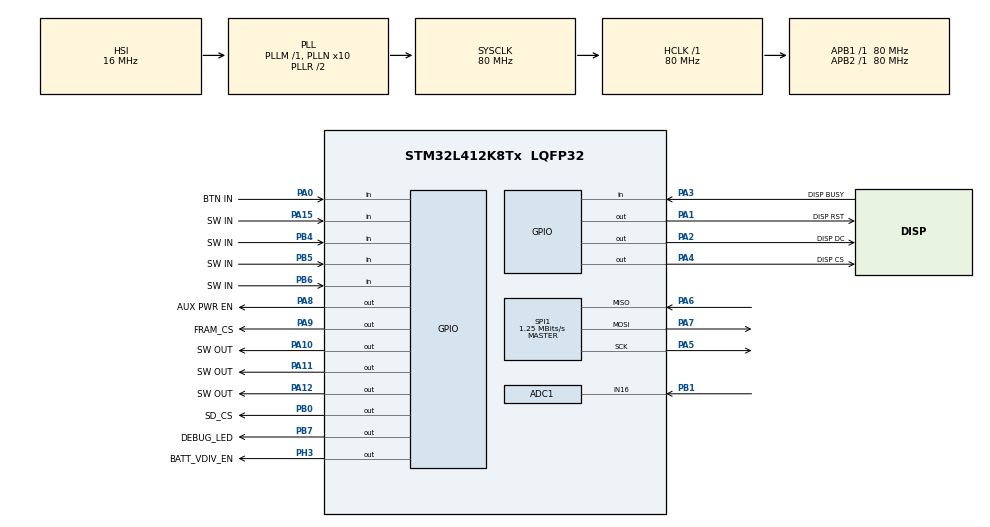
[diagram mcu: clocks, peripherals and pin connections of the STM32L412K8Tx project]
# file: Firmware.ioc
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ADC1.Channel-3\#ChannelRegularConversion=ADC_CHANNEL_16
ADC1.NbrOfConversionFlag=1
ADC1.OffsetNumber-3\#ChannelRegularConversion=ADC_OFFSET_NONE
ADC1.Rank-3\#ChannelRegularConversion=1
ADC1.SamplingTime-3\#ChannelRegularConversion=ADC_SAMPLETIME_2CYCLES_5
ADC1.master=1
FATFS._FS_RPATH=1
FATFS._MAX_SS=512
FATFS._USE_LFN=3
Mcu.Family=STM32L4
Mcu.Name=STM32L412K8Tx
Mcu.Package=LQFP32
NVIC.PriorityGroup=NVIC_PRIORITYGROUP_4
PA0-CK_IN.GPIO_Label=BTN IN
PA0-CK_IN.GPIO_PuPd=GPIO_NOPULL
PA0-CK_IN.Signal=GPIO_Input
PA1.GPIO_Label=DISP RST
PA1.Signal=GPIO_Output
PA10.GPIO_Label=SW OUT
PA10.GPIO_ModeDefaultOutputPP=GPIO_MODE_OUTPUT_OD
PA10.GPIO_PuPd=GPIO_NOPULL
PA10.Signal=GPIO_Output
PA11.GPIO_Label=SW OUT
PA11.GPIO_ModeDefaultOutputPP=GPIO_MODE_OUTPUT_OD
PA11.GPIO_PuPd=GPIO_NOPULL
PA11.Signal=GPIO_Output
PA12.GPIO_Label=SW OUT
PA12.GPIO_ModeDefaultOutputPP=GPIO_MODE_OUTPUT_OD
PA12.GPIO_PuPd=GPIO_NOPULL
PA12.Signal=GPIO_Output
PA13\ (JTMS/SWDIO).Mode=Trace_Asynchronous_SW
PA13\ (JTMS/SWDIO).Signal=SYS_JTMS-SWDIO
PA14\ (JTCK/SWCLK).Mode=Trace_Asynchronous_SW
PA14\ (JTCK/SWCLK).Signal=SYS_JTCK-SWCLK
PA15\ (JTDI).GPIO_Label=SW IN
PA15\ (JTDI).GPIO_PuPd=GPIO_PULLUP
PA15\ (JTDI).Signal=GPIO_Input
PA2.GPIO_Label=DISP DC
PA2.GPIO_Speed=GPIO_SPEED_FREQ_LOW
PA2.PinState=GPIO_PIN_RESET
PA2.Signal=GPIO_Output
PA3.GPIO_Label=DISP BUSY
PA3.Signal=GPIO_Input
PA4.GPIO_Label=DISP CS
PA4.GPIO_Speed=GPIO_SPEED_FREQ_VERY_HIGH
PA4.PinState=GPIO_PIN_SET
PA4.Signal=GPIO_Output
PA5.Mode=Full_Duplex_Master
PA5.Signal=SPI1_SCK
PA6.Mode=Full_Duplex_Master
PA6.Signal=SPI1_MISO
PA7.Mode=Full_Duplex_Master
PA7.Signal=SPI1_MOSI
PA8.GPIO_Label=AUX PWR EN
PA8.GPIO_Speed=GPIO_SPEED_FREQ_LOW
PA8.PinState=GPIO_PIN_SET
PA8.Signal=GPIO_Output
PA9.GPIO_Label=FRAM_CS
PA9.GPIO_Speed=GPIO_SPEED_FREQ_VERY_HIGH
PA9.PinState=GPIO_PIN_SET
PA9.Signal=GPIO_Output
PB0.GPIO_Label=SD_CS
PB0.GPIO_Speed=GPIO_SPEED_FREQ_VERY_HIGH
PB0.PinState=GPIO_PIN_SET
PB0.Signal=GPIO_Output
PB1.Signal=ADCx_IN16
PB3\ (JTDO/TRACESWO).Mode=Trace_Asynchronous_SW
PB3\ (JTDO/TRACESWO).Signal=SYS_JTDO-SWO
PB4\ (NJTRST).GPIO_Label=SW IN
PB4\ (NJTRST).GPIO_PuPd=GPIO_PULLUP
PB4\ (NJTRST).Signal=GPIO_Input
PB5.GPIO_Label=SW IN
PB5.GPIO_PuPd=GPIO_PULLUP
PB5.Signal=GPIO_Input
PB6.GPIO_Label=SW IN
PB6.GPIO_PuPd=GPIO_PULLUP
PB6.Signal=GPIO_Input
PB7.GPIO_Label=DEBUG_LED
PB7.Signal=GPIO_Output
PH3-BOOT0\ (BOOT0).GPIO_Label=BATT_VDIV_EN
PH3-BOOT0\ (BOOT0).Signal=GPIO_Output
ProjectManager.HeapSize=0x200
ProjectManager.StackSize=0x400
ProjectManager.TargetToolchain=STM32CubeIDE
RCC.ADCFreq_Value=80000000
RCC.AHBFreq_Value=80000000
RCC.APB1Freq_Value=80000000
RCC.APB1TimFreq_Value=80000000
RCC.APB2Freq_Value=80000000
RCC.APB2TimFreq_Value=80000000
RCC.CortexFreq_Value=80000000
RCC.HCLKFreq_Value=80000000
RCC.HSE_VALUE=8000000
RCC.HSI48_VALUE=48000000
RCC.HSI_VALUE=16000000
RCC.LSE_VALUE=32768
RCC.MSI_VALUE=4000000
RCC.PLLN=10
RCC.PLLSourceVirtual=RCC_PLLSOURCE_HSI
RCC.SYSCLKFreq_VALUE=80000000
RCC.SYSCLKSource=RCC_SYSCLKSOURCE_PLLCLK
RCC.USBFreq_Value=4000000
RCC.VCOOutputFreq_Value=160000000
SH.ADCx_IN16.0=ADC1_IN16,IN16-Single-Ended
SPI1.BaudRatePrescaler=SPI_BAUDRATEPRESCALER_64
SPI1.CalculateBaudRate=1.25 MBits/s
SPI1.DataSize=SPI_DATASIZE_8BIT
SPI1.Direction=SPI_DIRECTION_2LINES
SPI1.Mode=SPI_MODE_MASTER
SPI1.VirtualType=VM_MASTER
VP_FATFS_VS_Generic.Mode=User_defined
VP_RNG_VS_RNG.Mode=RNG_Activate
VP_RTC_VS_RTC_Activate.Mode=RTC_Enabled
board=custom

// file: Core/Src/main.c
/* USER CODE BEGIN Header */
/**
 ******************************************************************************
 * @file           : main.c
 * @brief          : Main program body
 ******************************************************************************
 * @attention
 *
 * Copyright (c) 2024 STMicroelectronics.
 * All rights reserved.
 *
 * This software is licensed under terms that can be found in the LICENSE file
 * in the root directory of this software component.
 * If no LICENSE file comes with this software, it is provided AS-IS.
 *
 ******************************************************************************
 */
/* USER CODE END Header */
#include "main.h"

#include "fatfs.h"

/* USER CODE BEGIN Includes */
#include <stdarg.h>  //for va_list var arg functions
#include <stdbool.h>
#include <stdio.h>
#include <string.h>

#include "aeon.h"
#include "disp.h"
#include "fram.h"
#include "sd.h"
#include "slic.h"

/* USER CODE END Includes */

ADC_HandleTypeDef hadc1;

RNG_HandleTypeDef hrng;

RTC_HandleTypeDef hrtc;

SPI_HandleTypeDef hspi1;

/* USER CODE BEGIN PV */

enum wake_reason_t wake_reason;

bool runtime_debug_mode = true;

uint32_t wake_cycle_count;
double batt_voltage;

#define DEBUG_OUTPUT_ARR_SIZE 20000
char debug_output_arr[DEBUG_OUTPUT_ARR_SIZE];
int debug_output_arr_index = 0;

FATFS FatFs;

FIL img_file_ptr;

#define PIXEL_BUF_SIZE 5000
uint8_t pixel_buf[PIXEL_BUF_SIZE];

/* USER CODE END PV */

void SystemClock_Config(void);
static void MX_GPIO_Init(void);
static void MX_ADC1_Init(void);
static void MX_SPI1_Init(void);
static void MX_RTC_Init(void);
static void MX_RNG_Init(void);

/* USER CODE BEGIN 0 */

int __io_putchar(int ch) {
    if ((runtime_debug_mode || DEBUG_MODE_FORCE_EN) &&
        debug_output_arr_index < DEBUG_OUTPUT_ARR_SIZE) {
        debug_output_arr[debug_output_arr_index++] = ch;
    }

    // Write character to ITM ch.0
    ITM_SendChar(ch);
    return (ch);
}

int img_slic_open_callback(const char* filename, SLICFILE* pFile) {
    FRESULT fres;

    fres = f_open(&img_file_ptr, filename, FA_READ);
    if (fres != FR_OK) {
        printf("f_open error (%i)\r\n", fres);
        return -1;
    }

    pFile->fHandle = &img_file_ptr;

    return 0;
}

int img_slic_read_callback(SLICFILE* pFile, uint8_t* pBuf, int32_t iLen) {
    UINT bytesRead;
    FRESULT fres;

    fres = f_read(pFile->fHandle, pBuf, iLen, &bytesRead);
    if (fres != FR_OK) {
        printf("f_read error (%i)\r\n", fres);
        return -1;
    }

    return bytesRead;
}

/* USER CODE END 0 */

int main(void) {
    /* USER CODE BEGIN 1 */

    setvbuf(stdout, NULL, _IONBF, 0);  // disable line buffering for printf

    bool wakeup_by_refresh_btn = __HAL_PWR_GET_FLAG(
        PWR_FLAG_WUF1);  // check if wake up was caused by refresh button
    bool wakeup_by_rtc =
        __HAL_RTC_WAKEUPTIMER_EXTI_GET_FLAG();  // check if wake up was caused
                                                // by RTC

    /* USER CODE END 1 */

    /* MCU
     * Configuration--------------------------------------------------------*/

    /* Reset of all peripherals, Initializes the Flash interface and the
     * Systick. */
    HAL_Init();

    /* Configure the system clock */
    SystemClock_Config();

    /* Initialize all configured peripherals */
    MX_GPIO_Init();
    MX_ADC1_Init();
    MX_SPI1_Init();
    MX_FATFS_Init();
    MX_RTC_Init();
    MX_RNG_Init();
    /* USER CODE BEGIN 2 */

    // ================= Initialisation ================= //

    __HAL_PWR_CLEAR_FLAG(
        PWR_FLAG_WU);  // clear wake up flag:
                       // https://wiki.st.com/stm32mcu/wiki/Getting_started_with_PWR#Standby_mode
    __HAL_RTC_WAKEUPTIMER_EXTI_CLEAR_FLAG();

    wake_reason = WAKE_REASON_RESET;

    if (wakeup_by_refresh_btn) {
        wake_reason = WAKE_REASON_STBY_REFRESH_BTN;
        if (DBG) printf("Wake from Standby (Refresh Btn)\n");
    } else if (wakeup_by_rtc) {
        wake_reason = WAKE_REASON_STBY_RTC;
        if (DBG) printf("Wake from Standby (RTC)\n");
    } else {
        if (DBG) printf("Wake from pwr off (Reset)\n");
    }

    SET_AUX_PWR(true);  // enable AUX power rail
    HAL_Delay(10);      // wait for AUX PWR to stabilise
    if (DBG) printf("Enabled AUX PWR\n");

    // check for previous unsafe shutdown, and set the flag to true
    bool previous_unsafe_shutdown = fram_sys_start_unsafe_shutdown_update();
    wake_cycle_count = fram_sys_wake_cycle_count_update();

    if (DBG) {
        printf("Starting iteration %lu\n", wake_cycle_count);
        printf("Previous shutdown was %s\n",
               previous_unsafe_shutdown ? "UNSAFE" : "safe");
    }

    bool sd_avail = sd_init(&FatFs);  // initialise SD card
    if (DBG && !sd_avail)
        printf("SD card not available, will be unable to refresh image\n");

    if (!batt_threshold_check(&batt_voltage)) {
        if (DBG)
            printf("Battery voltage is %.2fV, below threshold of %.2fV\n",
                   batt_voltage, BATT_THRESHOLD);

        if (DISABLE_BATT_THRESHOLD_CHECK) {
            if (DBG)
                printf("Battery threshold check disabled, continuing...\n");
        } else {
            fram_set_sleep_reason(SLEEP_REASON_LOW_BATT);
            enter_sleep(12 * 60 * 60);  // sleep for 12 hours
        }
    }
    if (DBG)
        printf("Battery voltage is %.2fV, above threshold of %.2fV\n",
               batt_voltage, BATT_THRESHOLD);

    // check if BTN_IN is held down to enter debug mode
    if (!check_debug_mode_en()) {
        if (!previous_unsafe_shutdown) {
            runtime_debug_mode = false;
        } else {
            printf("Debug mode enabled due to unsafe shutdown!\n");
        }
    }

    // ================= Step 1 ================= //
    // Check whether to do an image refresh or go back to sleep.

    uint32_t remaining_sleep_duration = fram_get_sleep_duration();
    if (DBG)
        printf("Remaining sleep duration: %lu\n", remaining_sleep_duration);

    uint16_t previous_interval_value =
        fram_get_interval_sw_value();  // get previous interval value

    uint16_t current_toggle_sw_value =
        get_toggle_sw_bits();  // get current toggle switch value

    // extract config values from toggle switch value
    bool refresh_enabled = current_toggle_sw_value & 0x800;  // 12th bit
    bool shuffle_enabled = current_toggle_sw_value & 0x400;  // 11th bit
    uint16_t current_interval_value =
        current_toggle_sw_value & 0x3FF;  // interval value is the lower 10 bits
                                          // of the toggle switch value

    fram_set_interval_sw_value(current_interval_value);
    if (DBG)
        printf(
            "Previous interval switch value: %u, Current interval switch "
            "value: %u\n",
            previous_interval_value, current_interval_value);

    // Conditions to return to sleep
    // 1. Sleep duration not elapsed
    // 2. and Wake up not caused by refresh button
    // 3. and Interval switch value not changed
    if (remaining_sleep_duration != 0 && !wakeup_by_refresh_btn &&
        previous_interval_value == current_interval_value) {
        if (DBG)
            printf(
                "Sleep duration not elapsed... Conditions not met for refresh, "
                "going back to sleep.\n");

        uint32_t next_sleep_duration = calculate_update_sleep_duration(
            remaining_sleep_duration, current_interval_value);

        fram_set_sleep_reason(SLEEP_REASON_NORM_ITER);
        enter_sleep(next_sleep_duration);
    }

    // 4. Refresh not enabled (and not woken by refresh button)
    if (!refresh_enabled && !wakeup_by_refresh_btn) {
        if (DBG) printf("Refresh not enabled... Going back to sleep.\n");

        fram_set_sleep_reason(SLEEP_REASON_REFRESH_DISABLED);
        enter_sleep(12 * 60 * 60);  // sleep for 12 hours
    }

    // ================= Step 2 ================= //
    // If conditions are correct, we need to refresh the image, so next, need to
    // select the image to display.

    if (!sd_avail) {
        if (DBG)
            printf(
                "SD card not available to refresh image... Going back to "
                "sleep.\n");

        fram_set_sleep_reason(SLEEP_REASON_NO_SD);
        enter_sleep(12 * 60 * 60);  // sleep for 12 hours
    }

    char filename[41] = {0};
    bool image_available =
        sd_get_next_image_filename(filename, shuffle_enabled);

    if (!image_available) {
        if (DBG)
            printf("No image available to display... Going back to sleep.\n");

        fram_set_sleep_reason(SLEEP_REASON_NO_IMAGE);
        enter_sleep(12 * 60 * 60);  // sleep for 12 hours
    }

    f_chdir("/images");  // change to images directory

    if (DBG) printf("Opening image file: %s\n", filename);
    SLICSTATE slic_state;
    slic_init_decode(filename, &slic_state, NULL, 0, NULL,
                     img_slic_open_callback, img_slic_read_callback);

    // ================= Step 3 ================= //
    // Display the image

    spi_device_select(AEON_SPI_DISP);
    if (DBG) printf("Initialising display\n");
    disp_init();

    if (DBG) printf("Initialising display registers\n");
    disp_init_regs();

    if (DBG) printf("Clearing display\n");
    disp_clear(DISP_WHITE);

    if (DBG)
        printf("Transferring image data to disp (one dot is %i bytes) -> ",
               sizeof(pixel_buf));

    disp_send_command(0x10);

    int pix_buf_remaining = 0;

    int EDP_width = 400;
    int EDP_height = 480;
    for (int i = 0; i < EDP_height; i++) {
        for (int j = 0; j < EDP_width; j++) {
            if (pix_buf_remaining == 0) {
                spi_device_select(AEON_SPI_SD);

                slic_decode(&slic_state, (uint8_t*)&pixel_buf,
                            sizeof(pixel_buf));
                pix_buf_remaining = sizeof(pixel_buf);

                spi_device_select(AEON_SPI_DISP);

                printf(".");
            }

            // each image byte stores data of two consecutive pixels (4 bits
            // each)
            uint8_t pixel_data = pixel_buf[PIXEL_BUF_SIZE - pix_buf_remaining];

            // this sends two 4-bit pixels as one byte
            disp_send_data(pixel_data);
            pix_buf_remaining--;
        }
    }

    if (DBG) printf("\nCompleted image transfer\n");

    if (DBG) printf("Turning on display\n");
    disp_turn_on();

    spi_device_select(AEON_SPI_SD);

    f_close(&img_file_ptr);

    spi_device_select(AEON_SPI_DISP);

    if (DBG) printf("Display to sleep and shutdown\n");
    disp_sleep();  // put display to sleep
    disp_exit();

    // ================= Step 4 ================= //
    // Finalise stored data and go back to sleep

    uint32_t next_sleep_duration =
        calculate_update_sleep_duration(0, current_interval_value);

    fram_set_sleep_reason(SLEEP_REASON_FIRST_AFTER_REFRESH);
    enter_sleep(next_sleep_duration);

    /* USER CODE END 2 */

    /* Infinite loop */
    while (1) {

    }
}

void SystemClock_Config(void) {
    RCC_OscInitTypeDef RCC_OscInitStruct = {0};
    RCC_ClkInitTypeDef RCC_ClkInitStruct = {0};

    /** Configure the main internal regulator output voltage
     */
    if (HAL_PWREx_ControlVoltageScaling(PWR_REGULATOR_VOLTAGE_SCALE1) !=
        HAL_OK) {
        Error_Handler();
    }

    /** Initializes the RCC Oscillators according to the specified parameters
     * in the RCC_OscInitTypeDef structure.
     */
    RCC_OscInitStruct.OscillatorType = RCC_OSCILLATORTYPE_HSI |
                                       RCC_OSCILLATORTYPE_LSI |
                                       RCC_OSCILLATORTYPE_MSI;
    RCC_OscInitStruct.HSIState = RCC_HSI_ON;
    RCC_OscInitStruct.HSICalibrationValue = RCC_HSICALIBRATION_DEFAULT;
    RCC_OscInitStruct.LSIState = RCC_LSI_ON;
    RCC_OscInitStruct.MSIState = RCC_MSI_ON;
    RCC_OscInitStruct.MSICalibrationValue = 0;
    RCC_OscInitStruct.MSIClockRange = RCC_MSIRANGE_6;
    RCC_OscInitStruct.PLL.PLLState = RCC_PLL_ON;
    RCC_OscInitStruct.PLL.PLLSource = RCC_PLLSOURCE_HSI;
    RCC_OscInitStruct.PLL.PLLM = 1;
    RCC_OscInitStruct.PLL.PLLN = 10;
    RCC_OscInitStruct.PLL.PLLQ = RCC_PLLQ_DIV2;
    RCC_OscInitStruct.PLL.PLLR = RCC_PLLR_DIV2;
    if (HAL_RCC_OscConfig(&RCC_OscInitStruct) != HAL_OK) {
        Error_Handler();
    }

    /** Initializes the CPU, AHB and APB buses clocks
     */
    RCC_ClkInitStruct.ClockType = RCC_CLOCKTYPE_HCLK | RCC_CLOCKTYPE_SYSCLK |
                                  RCC_CLOCKTYPE_PCLK1 | RCC_CLOCKTYPE_PCLK2;
    RCC_ClkInitStruct.SYSCLKSource = RCC_SYSCLKSOURCE_PLLCLK;
    RCC_ClkInitStruct.AHBCLKDivider = RCC_SYSCLK_DIV1;
    RCC_ClkInitStruct.APB1CLKDivider = RCC_HCLK_DIV1;
    RCC_ClkInitStruct.APB2CLKDivider = RCC_HCLK_DIV1;

    if (HAL_RCC_ClockConfig(&RCC_ClkInitStruct, FLASH_LATENCY_4) != HAL_OK) {
        Error_Handler();
    }
}

static void MX_ADC1_Init(void) {

    ADC_MultiModeTypeDef multimode = {0};
    ADC_ChannelConfTypeDef sConfig = {0};

    /** Common config
     */
    hadc1.Instance = ADC1;
    hadc1.Init.ClockPrescaler = ADC_CLOCK_ASYNC_DIV1;
    hadc1.Init.Resolution = ADC_RESOLUTION_12B;
    hadc1.Init.DataAlign = ADC_DATAALIGN_RIGHT;
    hadc1.Init.ScanConvMode = ADC_SCAN_DISABLE;
    hadc1.Init.EOCSelection = ADC_EOC_SINGLE_CONV;
    hadc1.Init.LowPowerAutoWait = DISABLE;
    hadc1.Init.ContinuousConvMode = DISABLE;
    hadc1.Init.NbrOfConversion = 1;
    hadc1.Init.DiscontinuousConvMode = DISABLE;
    hadc1.Init.ExternalTrigConv = ADC_SOFTWARE_START;
    hadc1.Init.ExternalTrigConvEdge = ADC_EXTERNALTRIGCONVEDGE_NONE;
    hadc1.Init.DMAContinuousRequests = DISABLE;
    hadc1.Init.Overrun = ADC_OVR_DATA_PRESERVED;
    hadc1.Init.OversamplingMode = DISABLE;
    if (HAL_ADC_Init(&hadc1) != HAL_OK) {
        Error_Handler();
    }

    /** Configure the ADC multi-mode
     */
    multimode.Mode = ADC_MODE_INDEPENDENT;
    if (HAL_ADCEx_MultiModeConfigChannel(&hadc1, &multimode) != HAL_OK) {
        Error_Handler();
    }

    /** Configure Regular Channel
     */
    sConfig.Channel = ADC_CHANNEL_16;
    sConfig.Rank = ADC_REGULAR_RANK_1;
    sConfig.SamplingTime = ADC_SAMPLETIME_2CYCLES_5;
    sConfig.SingleDiff = ADC_SINGLE_ENDED;
    sConfig.OffsetNumber = ADC_OFFSET_NONE;
    sConfig.Offset = 0;
    if (HAL_ADC_ConfigChannel(&hadc1, &sConfig) != HAL_OK) {
        Error_Handler();
    }
}

static void MX_RNG_Init(void) {

    hrng.Instance = RNG;
    if (HAL_RNG_Init(&hrng) != HAL_OK) {
        Error_Handler();
    }
}

static void MX_RTC_Init(void) {

    /** Initialize RTC Only
     */
    hrtc.Instance = RTC;
    hrtc.Init.HourFormat = RTC_HOURFORMAT_24;
    hrtc.Init.AsynchPrediv = 127;
    hrtc.Init.SynchPrediv = 255;
    hrtc.Init.OutPut = RTC_OUTPUT_DISABLE;
    hrtc.Init.OutPutRemap = RTC_OUTPUT_REMAP_NONE;
    hrtc.Init.OutPutPolarity = RTC_OUTPUT_POLARITY_HIGH;
    hrtc.Init.OutPutType = RTC_OUTPUT_TYPE_OPENDRAIN;
    hrtc.Init.OutPutPullUp = RTC_OUTPUT_PULLUP_NONE;
    if (HAL_RTC_Init(&hrtc) != HAL_OK) {
        Error_Handler();
    }
}

static void MX_SPI1_Init(void) {

    /* SPI1 parameter configuration*/
    hspi1.Instance = SPI1;
    hspi1.Init.Mode = SPI_MODE_MASTER;
    hspi1.Init.Direction = SPI_DIRECTION_2LINES;
    hspi1.Init.DataSize = SPI_DATASIZE_8BIT;
    hspi1.Init.CLKPolarity = SPI_POLARITY_LOW;
    hspi1.Init.CLKPhase = SPI_PHASE_1EDGE;
    hspi1.Init.NSS = SPI_NSS_SOFT;
    hspi1.Init.BaudRatePrescaler = SPI_BAUDRATEPRESCALER_64;
    hspi1.Init.FirstBit = SPI_FIRSTBIT_MSB;
    hspi1.Init.TIMode = SPI_TIMODE_DISABLE;
    hspi1.Init.CRCCalculation = SPI_CRCCALCULATION_DISABLE;
    hspi1.Init.CRCPolynomial = 7;
    hspi1.Init.CRCLength = SPI_CRC_LENGTH_DATASIZE;
    hspi1.Init.NSSPMode = SPI_NSS_PULSE_ENABLE;
    if (HAL_SPI_Init(&hspi1) != HAL_OK) {
        Error_Handler();
    }
}

static void MX_GPIO_Init(void) {
    GPIO_InitTypeDef GPIO_InitStruct = {0};

    /* GPIO Ports Clock Enable */
    __HAL_RCC_GPIOA_CLK_ENABLE();
    __HAL_RCC_GPIOB_CLK_ENABLE();
    __HAL_RCC_GPIOH_CLK_ENABLE();

    /*Configure GPIO pin Output Level */
    HAL_GPIO_WritePin(
        GPIOA,
        DISP_RST_Pin | DISP_DC_Pin | SW_OUT_Pin | SW_OUTA11_Pin | SW_OUTA12_Pin,
        GPIO_PIN_RESET);

    /*Configure GPIO pin Output Level */
    HAL_GPIO_WritePin(GPIOA, DISP_CS_Pin | AUX_PWR_EN_Pin | FRAM_CS_Pin,
                      GPIO_PIN_SET);

    /*Configure GPIO pin Output Level */
    HAL_GPIO_WritePin(SD_CS_GPIO_Port, SD_CS_Pin, GPIO_PIN_SET);

    /*Configure GPIO pin Output Level */
    HAL_GPIO_WritePin(DEBUG_LED_GPIO_Port, DEBUG_LED_Pin, GPIO_PIN_RESET);

    /*Configure GPIO pin Output Level */
    HAL_GPIO_WritePin(BATT_VDIV_EN_GPIO_Port, BATT_VDIV_EN_Pin, GPIO_PIN_RESET);

    /*Configure GPIO pins : BTN_IN_Pin DISP_BUSY_Pin */
    GPIO_InitStruct.Pin = BTN_IN_Pin | DISP_BUSY_Pin;
    GPIO_InitStruct.Mode = GPIO_MODE_INPUT;
    GPIO_InitStruct.Pull = GPIO_NOPULL;
    HAL_GPIO_Init(GPIOA, &GPIO_InitStruct);

    /*Configure GPIO pins : DISP_RST_Pin DISP_DC_Pin AUX_PWR_EN_Pin */
    GPIO_InitStruct.Pin = DISP_RST_Pin | DISP_DC_Pin | AUX_PWR_EN_Pin;
    GPIO_InitStruct.Mode = GPIO_MODE_OUTPUT_PP;
    GPIO_InitStruct.Pull = GPIO_NOPULL;
    GPIO_InitStruct.Speed = GPIO_SPEED_FREQ_LOW;
    HAL_GPIO_Init(GPIOA, &GPIO_InitStruct);

    /*Configure GPIO pins : DISP_CS_Pin FRAM_CS_Pin */
    GPIO_InitStruct.Pin = DISP_CS_Pin | FRAM_CS_Pin;
    GPIO_InitStruct.Mode = GPIO_MODE_OUTPUT_PP;
    GPIO_InitStruct.Pull = GPIO_NOPULL;
    GPIO_InitStruct.Speed = GPIO_SPEED_FREQ_VERY_HIGH;
    HAL_GPIO_Init(GPIOA, &GPIO_InitStruct);

    /*Configure GPIO pin : SD_CS_Pin */
    GPIO_InitStruct.Pin = SD_CS_Pin;
    GPIO_InitStruct.Mode = GPIO_MODE_OUTPUT_PP;
    GPIO_InitStruct.Pull = GPIO_NOPULL;
    GPIO_InitStruct.Speed = GPIO_SPEED_FREQ_VERY_HIGH;
    HAL_GPIO_Init(SD_CS_GPIO_Port, &GPIO_InitStruct);

    /*Configure GPIO pins : SW_OUT_Pin SW_OUTA11_Pin SW_OUTA12_Pin */
    GPIO_InitStruct.Pin = SW_OUT_Pin | SW_OUTA11_Pin | SW_OUTA12_Pin;
    GPIO_InitStruct.Mode = GPIO_MODE_OUTPUT_OD;
    GPIO_InitStruct.Pull = GPIO_NOPULL;
    GPIO_InitStruct.Speed = GPIO_SPEED_FREQ_LOW;
    HAL_GPIO_Init(GPIOA, &GPIO_InitStruct);

    /*Configure GPIO pin : SW_IN_Pin */
    GPIO_InitStruct.Pin = SW_IN_Pin;
    GPIO_InitStruct.Mode = GPIO_MODE_INPUT;
    GPIO_InitStruct.Pull = GPIO_PULLUP;
    HAL_GPIO_Init(SW_IN_GPIO_Port, &GPIO_InitStruct);

    /*Configure GPIO pins : SW_INB4_Pin SW_INB5_Pin SW_INB6_Pin */
    GPIO_InitStruct.Pin = SW_INB4_Pin | SW_INB5_Pin | SW_INB6_Pin;
    GPIO_InitStruct.Mode = GPIO_MODE_INPUT;
    GPIO_InitStruct.Pull = GPIO_PULLUP;
    HAL_GPIO_Init(GPIOB, &GPIO_InitStruct);

    /*Configure GPIO pin : DEBUG_LED_Pin */
    GPIO_InitStruct.Pin = DEBUG_LED_Pin;
    GPIO_InitStruct.Mode = GPIO_MODE_OUTPUT_PP;
    GPIO_InitStruct.Pull = GPIO_NOPULL;
    GPIO_InitStruct.Speed = GPIO_SPEED_FREQ_LOW;
    HAL_GPIO_Init(DEBUG_LED_GPIO_Port, &GPIO_InitStruct);

    /*Configure GPIO pin : BATT_VDIV_EN_Pin */
    GPIO_InitStruct.Pin = BATT_VDIV_EN_Pin;
    GPIO_InitStruct.Mode = GPIO_MODE_OUTPUT_PP;
    GPIO_InitStruct.Pull = GPIO_NOPULL;
    GPIO_InitStruct.Speed = GPIO_SPEED_FREQ_LOW;
    HAL_GPIO_Init(BATT_VDIV_EN_GPIO_Port, &GPIO_InitStruct);

}

void Error_Handler(void) {
    /* USER CODE BEGIN Error_Handler_Debug */
    /* User can add his own implementation to report the HAL error return state
     */
    __disable_irq();
    while (1) {
    }
    /* USER CODE END Error_Handler_Debug */
}

#ifdef USE_FULL_ASSERT
/**
 * @brief  Reports the name of the source file and the source line number
 *         where the assert_param error has occurred.
 * @param  file: pointer to the source file name
 * @param  line: assert_param error line source number
 * @retval None
 */
void assert_failed(uint8_t* file, uint32_t line) {
    /* USER CODE BEGIN 6 */
    /* User can add his own implementation to report the file name and line
       number, ex: printf("Wrong parameters value: file %s on line %d\r\n",
       file, line) */
    /* USER CODE END 6 */
}
#endif /* USE_FULL_ASSERT */
